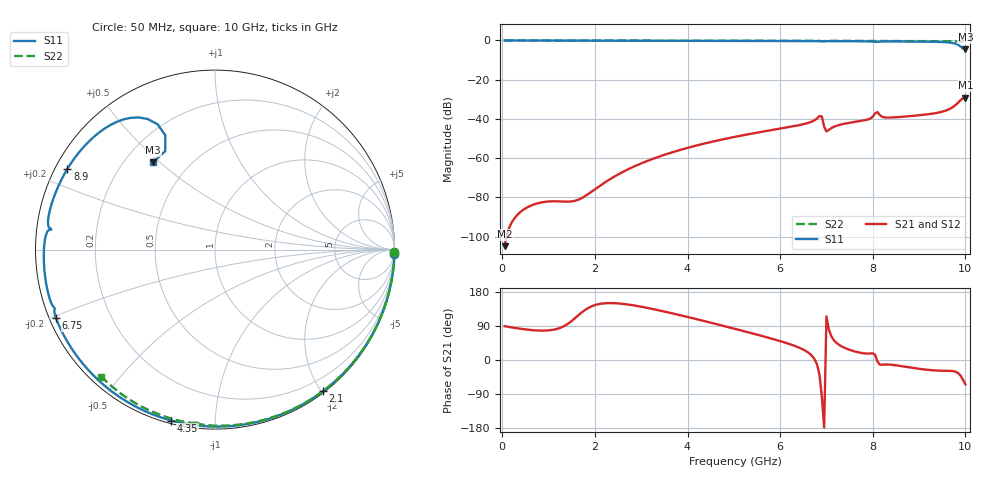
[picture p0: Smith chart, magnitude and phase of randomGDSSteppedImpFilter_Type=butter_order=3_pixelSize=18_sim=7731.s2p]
! freq	dB(S11)	phase(S11)	dB(S12)	phase(S12)
!  dB(S21)	phase(S21)	dB(S22)	phase(S22)
!S-par simulation data
#  GHz  S  DB  R 50
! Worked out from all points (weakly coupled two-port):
!   200 points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, 50 MHz to 10 GHz, reference 50 ohm
!   highest |S21| = -29.11 dB at 10 GHz (marker M1); lowest = -104.9 dB at 50 MHz (marker M2)
!   lowest |S11| = -4.5 dB at 10 GHz (marker M3), VSWR 3.95, Z = 15.8 + j23.8 ohm
!   |S11| at or under -10 dB: nowhere
!   |S22| runs from -0.4 to 0.0 dB; largest |S21 - S12| = 0
!   S11 on the Smith chart (normalised r, x): 50 MHz: 0, -88; 2.1 GHz: 0.02, -2.02; 4.35 GHz: 0.01, -0.78; 6.75 GHz: 0.02, -0.21; 8.9 GHz: 0.03, +0.26; 10 GHz: 0.32, +0.48
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0.05  -0.00 -1.3  -104.93 89.3  -104.93 89.3  -0.00 -0.8
0.85  -0.03 -21.7  -82.59 77.5  -82.59 77.5  -0.02 -12.9
1.75  -0.06 -44.2  -79.93 128.8  -79.93 128.8  -0.03 -26.3
2.1  -0.07 -52.7  -74.24 147.9  -74.24 147.9  -0.04 -31.4
2.7  -0.09 -67.0  -65.91 146.6  -65.91 146.6  -0.05 -40.1
3.4  -0.11 -83.2  -59.13 130.6  -59.13 130.6  -0.07 -50.0
4.35  -0.15 -104.4  -52.66 103.1  -52.66 103.1  -0.09 -63.1
5.05  -0.18 -119.6  -49.04 81.4  -49.04 81.4  -0.11 -72.4
6.7  -0.30 -155.5  -41.20 9.2  -41.20 9.2  -0.19 -93.6
6.75  -0.31 -156.7  -40.56 0.6  -40.56 0.6  -0.20 -94.3
6.9  -0.44 -159.9  -38.76 -96.7  -38.76 -96.7  -0.38 -96.0
6.95  -0.40 -160.5  -44.00 -178.0  -44.00 -178.0  -0.32 -95.8
7  -0.36 -161.7  -46.39 115.1  -46.39 115.1  -0.26 -96.5
7.25  -0.35 -167.5  -43.27 42.0  -43.27 42.0  -0.22 -99.8
7.9  -0.45 176.7  -40.26 16.9  -40.26 16.9  -0.26 -107.6
8.1  -0.74 173.1  -36.53 -3.5  -36.53 -3.5  -0.27 -110.0
8.35  -0.48 166.5  -39.34 -12.1  -39.34 -12.1  -0.29 -112.9
8.9  -0.56 151.3  -38.38 -21.5  -38.38 -21.5  -0.34 -119.3
9.45  -0.77 133.6  -36.62 -28.2  -36.62 -28.2  -0.39 -125.6
9.75  -1.40 120.1  -33.63 -29.7  -33.63 -29.7  -0.42 -129.0
9.9  -3.17 113.5  -30.38 -42.0  -30.38 -42.0  -0.44 -130.7
10  -4.49 125.4  -29.11 -64.2  -29.11 -64.2  -0.44 -131.9
